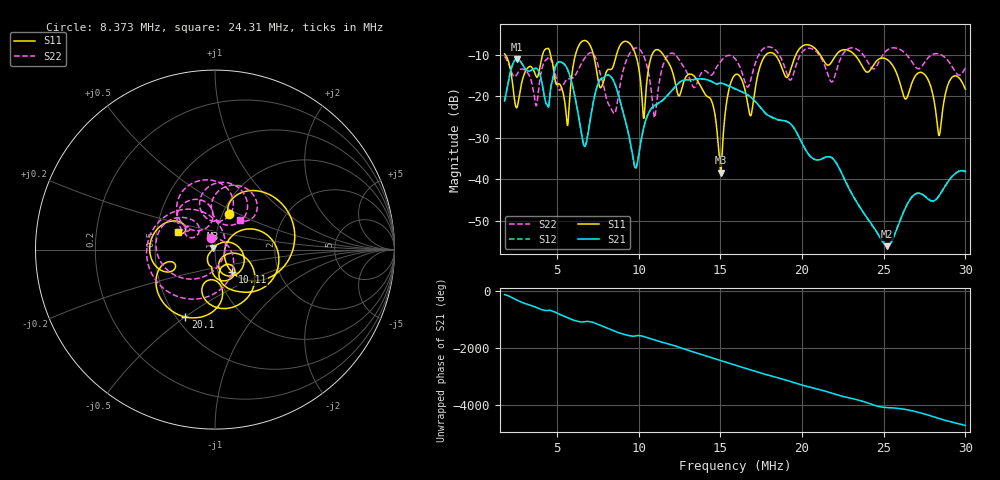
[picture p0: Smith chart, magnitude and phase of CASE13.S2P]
!Agilent Technologies,E5061B,MY49101568,A.02.00
!Date: Wed Mar 01 13:25:20 2023
!Data & Calibration Information:
!Freq	S11:SOLT2(OFF)	S21:SOLT2(OFF)	S12:SOLT2(OFF)	S22:SOLT2(OFF)
# Hz S dB R 50
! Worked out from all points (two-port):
!   1155 points, 1.8 MHz to 30 MHz, reference 50 ohm
!   highest |S21| = -11.00 dB at 2.558 MHz (marker M1); lowest = -56.1 dB at 25.21 MHz (marker M2)
!   |S21| within 3 dB of the highest: 2.165 MHz to 3.893 MHz (1.729 MHz wide, 57.1 % of centre); 4.838 MHz to 5.701 MHz (863.2 kHz wide, 16.4 % of centre)
!   lowest |S11| = -38.4 dB at 15.02 MHz (marker M3), VSWR 1.02, Z = 49 + j0.634 ohm
!   |S11| at or under -10 dB: 1.842 MHz to 4.125 MHz (2.283 MHz wide, 76.5 % of centre); 11.51 MHz to 17.79 MHz (6.286 MHz wide, 42.9 % of centre); 23.22 MHz to end of sweep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
!   |S22| runs from -25.1 to -8.1 dB; largest |S21 - S12| = 0.0049
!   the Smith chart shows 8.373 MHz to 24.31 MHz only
!   S11 on the Smith chart (normalised r, x): 8.373 MHz: 1.07, +0.45; 10.11 MHz: 1.17, -0.30; 20.1 MHz: 0.56, -0.50; 24.31 MHz: 0.65, +0.13
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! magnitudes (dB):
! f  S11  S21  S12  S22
! 1.8 MHz  -9.8  -21.1  -21.1  -10.4
! 2.558 MHz  -22.7  -11.0  -11.0  -14.7
! 3.731 MHz  -15.2  -13.2  -13.3  -22.3
! 4.415 MHz  -8.5  -22.1  -22.1  -11.0
! 5.637 MHz  -27.0  -13.4  -13.4  -15.9
! 6.516 MHz  -6.8  -29.3  -29.2  -12.0
! 8.373 MHz  -13.4  -15.6  -15.6  -23.4
! 10.11 MHz  -16.0  -31.7  -31.5  -8.9
! 11.21 MHz  -8.8  -21.7  -21.8  -18.1
! 14.41 MHz  -20.6  -16.3  -16.3  -14.9
! 15.02 MHz  -38.4  -16.8  -16.9  -11.6
! 15.9 MHz  -14.9  -18.2  -18.2  -10.9
! 16.85 MHz  -24.7  -20.2  -20.2  -16.2
! 17.76 MHz  -10.2  -24.0  -24.1  -8.2
! 20.1 MHz  -7.7  -32.0  -32.1  -9.0
! 20.62 MHz  -7.9  -34.8  -34.8  -8.6
! 24.31 MHz  -12.9  -51.1  -51.2  -13.3
! 25.21 MHz  -11.2  -56.1  -55.8  -8.9
! 25.31 MHz  -11.4  -55.9  -55.8  -8.6
! 27.58 MHz  -15.1  -44.3  -44.2  -11.4
! 28.39 MHz  -29.5  -44.0  -43.9  -9.8
! 30 MHz  -18.3  -38.1  -38.1  -13.2
